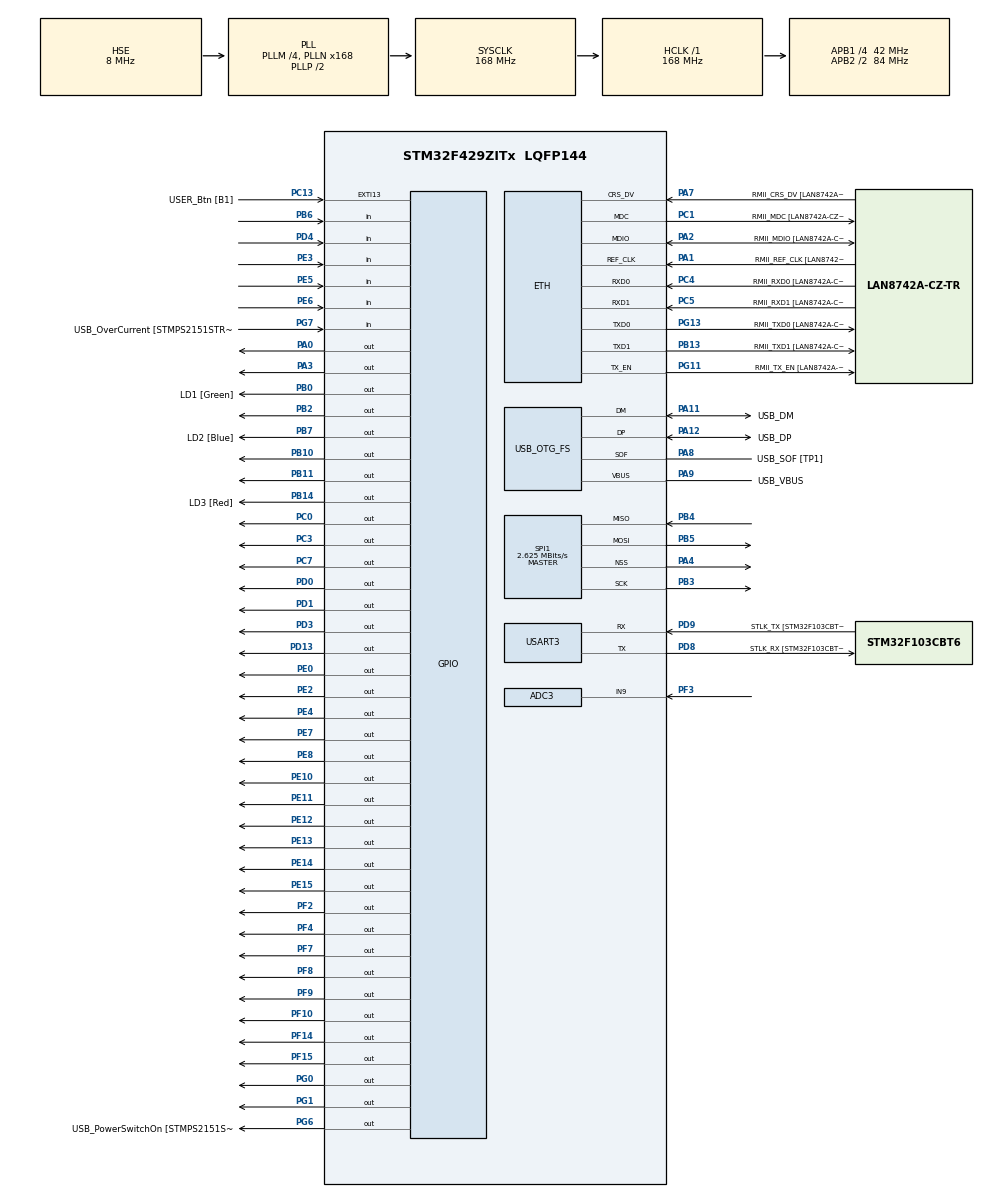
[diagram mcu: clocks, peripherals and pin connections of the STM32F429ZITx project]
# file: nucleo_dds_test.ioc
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ADC3.Channel-0\#ChannelRegularConversion=ADC_CHANNEL_9
ADC3.NbrOfConversionFlag=1
ADC3.Rank-0\#ChannelRegularConversion=1
ADC3.SamplingTime-0\#ChannelRegularConversion=ADC_SAMPLETIME_3CYCLES
ETH.MediaInterface=HAL_ETH_RMII_MODE
ETH.PHY_Name=LAN8742A_PHY_ADDRESS
ETH.PHY_Value=0
ETH.PhyAddress=0
FREERTOS.Tasks01=defaultTask,0,256,StartDefaultTask,Default,NULL,Dynamic,NULL,NULL
FREERTOS.configUSE_NEWLIB_REENTRANT=1
LWIP.BSP.number=1
LWIP.Version=v2.1.2_Cube
LWIP0.BSP.STBoard=false
LWIP0.BSP.api=BSP_COMPONENT_DRIVER
LWIP0.BSP.component=LAN8742
LWIP0.BSP.instance=LAN8742
LWIP0.BSP.name=Driver_PHY
LWIP0.BSP.semaphore=S_LAN8742
LWIP0.BSP.solution=LAN8742
Mcu.Family=STM32F4
Mcu.Name=STM32F429ZITx
Mcu.Package=LQFP144
NVIC.ETH_IRQn=true\:5\:0\:false\:false\:true\:true\:false\:true\:true
NVIC.PriorityGroup=NVIC_PRIORITYGROUP_4
NVIC.TIM6_DAC_IRQn=true\:15\:0\:false\:false\:true\:false\:false\:true\:true
NVIC.TimeBase=TIM6_DAC_IRQn
NVIC.TimeBaseIP=TIM6
PA0/WKUP.Signal=GPIO_Output
PA1.GPIO_Label=RMII_REF_CLK [LAN8742A-CZ-TR_REFCLK0]
PA1.Mode=RMII
PA1.Signal=ETH_REF_CLK
PA10.GPIO_Label=USB_ID
PA10.Signal=USB_OTG_FS_ID
PA11.GPIO_Label=USB_DM
PA11.Mode=Device_Only
PA11.Signal=USB_OTG_FS_DM
PA12.GPIO_Label=USB_DP
PA12.Mode=Device_Only
PA12.Signal=USB_OTG_FS_DP
PA13.GPIO_Label=TMS
PA13.Mode=Serial_Wire
PA13.Signal=SYS_JTMS-SWDIO
PA14.GPIO_Label=TCK
PA14.Mode=Serial_Wire
PA14.Signal=SYS_JTCK-SWCLK
PA2.GPIO_Label=RMII_MDIO [LAN8742A-CZ-TR_MDIO]
PA2.Mode=RMII
PA2.Signal=ETH_MDIO
PA3.Signal=GPIO_Output
PA4.Mode=NSS_Signal_Hard_Output
PA4.Signal=SPI1_NSS
PA7.GPIO_Label=RMII_CRS_DV [LAN8742A-CZ-TR_CRS_DV]
PA7.Mode=RMII
PA7.Signal=ETH_CRS_DV
PA8.GPIO_Label=USB_SOF [TP1]
PA8.Mode=Activate_SOF_FS
PA8.Signal=USB_OTG_FS_SOF
PA9.GPIO_Label=USB_VBUS
PA9.Mode=Activate_VBUS
PA9.Signal=USB_OTG_FS_VBUS
PB0.GPIO_Label=LD1 [Green]
PB0.Signal=GPIO_Output
PB10.Signal=GPIO_Output
PB11.Signal=GPIO_Output
PB13.GPIO_Label=RMII_TXD1 [LAN8742A-CZ-TR_TXD1]
PB13.Mode=RMII
PB13.Signal=ETH_TXD1
PB14.GPIO_Label=LD3 [Red]
PB14.Signal=GPIO_Output
PB2/BOOT1.Signal=GPIO_Output
PB3.Mode=Full_Duplex_Master
PB3.Signal=SPI1_SCK
PB4.Mode=Full_Duplex_Master
PB4.Signal=SPI1_MISO
PB5.Mode=Full_Duplex_Master
PB5.Signal=SPI1_MOSI
PB6.Signal=GPIO_Input
PB7.GPIO_Label=LD2 [Blue]
PB7.Signal=GPIO_Output
PC0.Signal=GPIO_Output
PC1.GPIO_Label=RMII_MDC [LAN8742A-CZ-TR_MDC]
PC1.Mode=RMII
PC1.Signal=ETH_MDC
PC13.GPIO_Label=USER_Btn [B1]
PC13.Signal=GPXTI13
PC14/OSC32_IN.Mode=LSE-External-Oscillator
PC14/OSC32_IN.Signal=RCC_OSC32_IN
PC15/OSC32_OUT.Mode=LSE-External-Oscillator
PC15/OSC32_OUT.Signal=RCC_OSC32_OUT
PC3.Signal=GPIO_Output
PC4.GPIO_Label=RMII_RXD0 [LAN8742A-CZ-TR_RXD0]
PC4.Mode=RMII
PC4.Signal=ETH_RXD0
PC5.GPIO_Label=RMII_RXD1 [LAN8742A-CZ-TR_RXD1]
PC5.Mode=RMII
PC5.Signal=ETH_RXD1
PC7.Signal=GPIO_Output
PD0.Signal=GPIO_Output
PD1.Signal=GPIO_Output
PD13.Signal=GPIO_Output
PD3.Signal=GPIO_Output
PD4.Signal=GPIO_Input
PD8.GPIO_Label=STLK_RX [STM32F103CBT6_PA3]
PD8.Mode=Asynchronous
PD8.Signal=USART3_TX
PD9.GPIO_Label=STLK_TX [STM32F103CBT6_PA2]
PD9.Mode=Asynchronous
PD9.Signal=USART3_RX
PE0.Signal=GPIO_Output
PE10.Signal=GPIO_Output
PE11.Signal=GPIO_Output
PE12.Signal=GPIO_Output
PE13.Signal=GPIO_Output
PE14.Signal=GPIO_Output
PE15.Signal=GPIO_Output
PE2.Signal=GPIO_Output
PE3.Signal=GPIO_Input
PE4.Signal=GPIO_Output
PE5.Signal=GPIO_Input
PE6.Signal=GPIO_Input
PE7.Signal=GPIO_Output
PE8.Signal=GPIO_Output
PF10.Signal=GPIO_Output
PF14.Signal=GPIO_Output
PF15.Signal=GPIO_Output
PF2.Signal=GPIO_Output
PF3.Mode=IN9
PF3.Signal=ADC3_IN9
PF4.Signal=GPIO_Output
PF7.Signal=GPIO_Output
PF8.Signal=GPIO_Output
PF9.Signal=GPIO_Output
PG0.Signal=GPIO_Output
PG1.Signal=GPIO_Output
PG11.GPIO_Label=RMII_TX_EN [LAN8742A-CZ-TR_TXEN]
PG11.Mode=RMII
PG11.Signal=ETH_TX_EN
PG13.GPIO_Label=RMII_TXD0 [LAN8742A-CZ-TR_TXD0]
PG13.Mode=RMII
PG13.Signal=ETH_TXD0
PG6.GPIO_Label=USB_PowerSwitchOn [STMPS2151STR_EN]
PG6.Signal=GPIO_Output
PG7.GPIO_Label=USB_OverCurrent [STMPS2151STR_FAULT]
PG7.Signal=GPIO_Input
PH0/OSC_IN.GPIO_Label=MCO [STM32F103CBT6_PA8]
PH0/OSC_IN.Mode=HSE-External-Clock-Source
PH0/OSC_IN.Signal=RCC_OSC_IN
PH1/OSC_OUT.Mode=HSE-External-Clock-Source
PH1/OSC_OUT.Signal=RCC_OSC_OUT
ProjectManager.HeapSize=0x200
ProjectManager.StackSize=0x400
ProjectManager.TargetToolchain=STM32CubeIDE
RCC.48MHZClocksFreq_Value=48000000
RCC.AHBFreq_Value=168000000
RCC.APB1CLKDivider=RCC_HCLK_DIV4
RCC.APB1Freq_Value=42000000
RCC.APB1TimFreq_Value=84000000
RCC.APB2CLKDivider=RCC_HCLK_DIV2
RCC.APB2Freq_Value=84000000
RCC.APB2TimCLKDivider=2
RCC.APB2TimFreq_Value=168000000
RCC.CortexFreq_Value=168000000
RCC.HCLKFreq_Value=168000000
RCC.HSE_VALUE=8000000
RCC.HSI_VALUE=16000000
RCC.PLLM=4
RCC.PLLMUL=RCC_PLL_MUL9
RCC.PLLN=168
RCC.PLLQ=7
RCC.PRESCALERUSB=RCC_USBCLKSOURCE_PLL_DIV1_5
RCC.SYSCLKFreq_VALUE=168000000
RCC.SYSCLKSource=RCC_SYSCLKSOURCE_PLLCLK
RCC.SYSCLKSourceVirtual=RCC_SYSCLKSOURCE_PLLCLK
RCC.USBFreq_Value=48000000
RCC.VCOOutputFreq_Value=336000000
SPI1.BaudRatePrescaler=SPI_BAUDRATEPRESCALER_32
SPI1.CalculateBaudRate=2.625 MBits/s
SPI1.Direction=SPI_DIRECTION_2LINES
SPI1.Mode=SPI_MODE_MASTER
SPI1.VirtualNSS=VM_NSSHARD
SPI1.VirtualType=VM_MASTER
USART3.VirtualMode=VM_ASYNC
USB_OTG_FS.VirtualMode=Device_Only
VP_FREERTOS_VS_CMSIS_V1.Mode=CMSIS_V1
VP_LWIP_VS_Enabled.Mode=Enabled
VP_SYS_VS_tim6.Mode=TIM6
board=NUCLEO-F429ZI

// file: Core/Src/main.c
/* USER CODE BEGIN Header */
/**
  ******************************************************************************
  * @file           : main.c
  * @brief          : Main program body
  ******************************************************************************
  * @attention
  *
  * Copyright (c) 2024 STMicroelectronics.
  * All rights reserved.
  *
  * This software is licensed under terms that can be found in the LICENSE file
  * in the root directory of this software component.
  * If no LICENSE file comes with this software, it is provided AS-IS.
  *
  ******************************************************************************
  */
/* USER CODE END Header */
#include "main.h"
#include "cmsis_os.h"
#include "lwip.h"

/* USER CODE BEGIN Includes */
#include "ad9910.h"
#include <string.h>
#include "server.h"
#include <stdio.h>

/* USER CODE END Includes */

ADC_HandleTypeDef hadc3;

SPI_HandleTypeDef hspi1;

UART_HandleTypeDef huart3;

PCD_HandleTypeDef hpcd_USB_OTG_FS;

osThreadId defaultTaskHandle;
/* USER CODE BEGIN PV */

#define DEBUG_LOG 0

void Serial_print(const char * str){
	HAL_UART_Transmit(&huart3, (uint8_t*)str, strlen(str), 1000);
}
void Serial_println(const char * str){
	Serial_print(str);
	Serial_print("\r\n");
}
void SPI_Transmit(uint8_t *strBuffer, int nums, int pause)
{
#if DEBUG_LOG
	Serial_print("SPI transmit: ");
	char s[3] = "";
	for (int i=0;i<nums; i++)
	{
		sprintf(s, "%02x", strBuffer[i]);
		Serial_print(s);
	}
	Serial_println(" ");
#endif
	GPIO_WritePin(DDS_SPI_CS_GPIO_PORT, DDS_SPI_CS_PIN, GPIO_PIN_RESET);
	HAL_SPI_Transmit(&hspi1, strBuffer, nums, pause);
	GPIO_WritePin(DDS_SPI_CS_GPIO_PORT, DDS_SPI_CS_PIN, GPIO_PIN_SET);
}

void GPIO_WritePin(GPIO_TypeDef *port, int pin, int mode)
{
#if DEBUG_LOG
	char s[200] = "";
	sprintf(s, "Pin %d set to %d", pin, mode);
	Serial_println(s);
#endif
	HAL_GPIO_WritePin(port, pin, mode);
}

/* USER CODE END PV */

void SystemClock_Config(void);
static void MX_GPIO_Init(void);
static void MX_USART3_UART_Init(void);
static void MX_USB_OTG_FS_PCD_Init(void);
static void MX_ADC3_Init(void);
static void MX_SPI1_Init(void);
void StartDefaultTask(void const * argument);

int main(void)
{

  /* MCU Configuration--------------------------------------------------------*/

  /* Reset of all peripherals, Initializes the Flash interface and the Systick. */
  HAL_Init();

  /* Configure the system clock */
  SystemClock_Config();

  /* Initialize all configured peripherals */
  MX_GPIO_Init();
  MX_USART3_UART_Init();
  MX_USB_OTG_FS_PCD_Init();
  MX_ADC3_Init();
  MX_SPI1_Init();

  /* Create the thread(s) */
  /* definition and creation of defaultTask */
  osThreadDef(defaultTask, StartDefaultTask, osPriorityNormal, 0, 256);
  defaultTaskHandle = osThreadCreate(osThread(defaultTask), NULL);

  /* Start scheduler */
  osKernelStart();

  /* We should never get here as control is now taken by the scheduler */

  /* Infinite loop */
  /* USER CODE BEGIN WHILE */
//  char tx_buff[] = "Hello from Nucleo-DDS\r\n";
  while (1)
  {
//	HAL_Delay(500);
//	Serial_print("*");
//
//	GPIO_WritePin(DDS_DRCTL_GPIO_PORT, DDS_DRCTL_PIN, GPIO_PIN_SET);
//	HAL_Delay(10);
//	GPIO_WritePin(DDS_DRCTL_GPIO_PORT, DDS_DRCTL_PIN, GPIO_PIN_RESET);
//
//	//	HAL_UART_Transmit(&huart3, (uint8_t*)tx_buff, strlen(tx_buff), 1000);
//		GPIO_WritePin(GPIOB, LD3_Pin, GPIO_PIN_SET);
//		GPIO_WritePin(GPIOB, LD1_Pin, GPIO_PIN_RESET);
//		GPIO_WritePin(GPIOB, LD2_Pin, GPIO_PIN_SET);
//		HAL_Delay(500);
//		GPIO_WritePin(GPIOB, LD3_Pin, GPIO_PIN_RESET);
//		GPIO_WritePin(GPIOB, LD1_Pin, GPIO_PIN_SET);
//		GPIO_WritePin(GPIOB, LD2_Pin, GPIO_PIN_RESET);

//	HAL_UART_Transmit(&huart3, (uint8_t*)tx_buff, strlen(tx_buff), 1000);
    /* USER CODE END WHILE */

  }
}

void SystemClock_Config(void)
{
  RCC_OscInitTypeDef RCC_OscInitStruct = {0};
  RCC_ClkInitTypeDef RCC_ClkInitStruct = {0};

  /** Configure the main internal regulator output voltage
  */
  __HAL_RCC_PWR_CLK_ENABLE();
  __HAL_PWR_VOLTAGESCALING_CONFIG(PWR_REGULATOR_VOLTAGE_SCALE1);

  /** Initializes the RCC Oscillators according to the specified parameters
  * in the RCC_OscInitTypeDef structure.
  */
  RCC_OscInitStruct.OscillatorType = RCC_OSCILLATORTYPE_HSE;
  RCC_OscInitStruct.HSEState = RCC_HSE_BYPASS;
  RCC_OscInitStruct.PLL.PLLState = RCC_PLL_ON;
  RCC_OscInitStruct.PLL.PLLSource = RCC_PLLSOURCE_HSE;
  RCC_OscInitStruct.PLL.PLLM = 4;
  RCC_OscInitStruct.PLL.PLLN = 168;
  RCC_OscInitStruct.PLL.PLLP = RCC_PLLP_DIV2;
  RCC_OscInitStruct.PLL.PLLQ = 7;
  if (HAL_RCC_OscConfig(&RCC_OscInitStruct) != HAL_OK)
  {
    Error_Handler();
  }

  /** Initializes the CPU, AHB and APB buses clocks
  */
  RCC_ClkInitStruct.ClockType = RCC_CLOCKTYPE_HCLK|RCC_CLOCKTYPE_SYSCLK
                              |RCC_CLOCKTYPE_PCLK1|RCC_CLOCKTYPE_PCLK2;
  RCC_ClkInitStruct.SYSCLKSource = RCC_SYSCLKSOURCE_PLLCLK;
  RCC_ClkInitStruct.AHBCLKDivider = RCC_SYSCLK_DIV1;
  RCC_ClkInitStruct.APB1CLKDivider = RCC_HCLK_DIV4;
  RCC_ClkInitStruct.APB2CLKDivider = RCC_HCLK_DIV2;

  if (HAL_RCC_ClockConfig(&RCC_ClkInitStruct, FLASH_LATENCY_5) != HAL_OK)
  {
    Error_Handler();
  }
}

static void MX_ADC3_Init(void)
{

  ADC_ChannelConfTypeDef sConfig = {0};

  /** Configure the global features of the ADC (Clock, Resolution, Data Alignment and number of conversion)
  */
  hadc3.Instance = ADC3;
  hadc3.Init.ClockPrescaler = ADC_CLOCK_SYNC_PCLK_DIV4;
  hadc3.Init.Resolution = ADC_RESOLUTION_12B;
  hadc3.Init.ScanConvMode = DISABLE;
  hadc3.Init.ContinuousConvMode = DISABLE;
  hadc3.Init.DiscontinuousConvMode = DISABLE;
  hadc3.Init.ExternalTrigConvEdge = ADC_EXTERNALTRIGCONVEDGE_NONE;
  hadc3.Init.ExternalTrigConv = ADC_SOFTWARE_START;
  hadc3.Init.DataAlign = ADC_DATAALIGN_RIGHT;
  hadc3.Init.NbrOfConversion = 1;
  hadc3.Init.DMAContinuousRequests = DISABLE;
  hadc3.Init.EOCSelection = ADC_EOC_SINGLE_CONV;
  if (HAL_ADC_Init(&hadc3) != HAL_OK)
  {
    Error_Handler();
  }

  /** Configure for the selected ADC regular channel its corresponding rank in the sequencer and its sample time.
  */
  sConfig.Channel = ADC_CHANNEL_9;
  sConfig.Rank = 1;
  sConfig.SamplingTime = ADC_SAMPLETIME_3CYCLES;
  if (HAL_ADC_ConfigChannel(&hadc3, &sConfig) != HAL_OK)
  {
    Error_Handler();
  }

}

static void MX_SPI1_Init(void)
{

  /* SPI1 parameter configuration*/
  hspi1.Instance = SPI1;
  hspi1.Init.Mode = SPI_MODE_MASTER;
  hspi1.Init.Direction = SPI_DIRECTION_2LINES;
  hspi1.Init.DataSize = SPI_DATASIZE_8BIT;
  hspi1.Init.CLKPolarity = SPI_POLARITY_LOW;
  hspi1.Init.CLKPhase = SPI_PHASE_1EDGE;
  hspi1.Init.NSS = SPI_NSS_HARD_OUTPUT;
  hspi1.Init.BaudRatePrescaler = SPI_BAUDRATEPRESCALER_32;
  hspi1.Init.FirstBit = SPI_FIRSTBIT_MSB;
  hspi1.Init.TIMode = SPI_TIMODE_DISABLE;
  hspi1.Init.CRCCalculation = SPI_CRCCALCULATION_DISABLE;
  hspi1.Init.CRCPolynomial = 10;
  if (HAL_SPI_Init(&hspi1) != HAL_OK)
  {
    Error_Handler();
  }

}

static void MX_USART3_UART_Init(void)
{

  huart3.Instance = USART3;
  huart3.Init.BaudRate = 115200;
  huart3.Init.WordLength = UART_WORDLENGTH_8B;
  huart3.Init.StopBits = UART_STOPBITS_1;
  huart3.Init.Parity = UART_PARITY_NONE;
  huart3.Init.Mode = UART_MODE_TX_RX;
  huart3.Init.HwFlowCtl = UART_HWCONTROL_NONE;
  huart3.Init.OverSampling = UART_OVERSAMPLING_16;
  if (HAL_UART_Init(&huart3) != HAL_OK)
  {
    Error_Handler();
  }

}

static void MX_USB_OTG_FS_PCD_Init(void)
{

  hpcd_USB_OTG_FS.Instance = USB_OTG_FS;
  hpcd_USB_OTG_FS.Init.dev_endpoints = 4;
  hpcd_USB_OTG_FS.Init.speed = PCD_SPEED_FULL;
  hpcd_USB_OTG_FS.Init.dma_enable = DISABLE;
  hpcd_USB_OTG_FS.Init.phy_itface = PCD_PHY_EMBEDDED;
  hpcd_USB_OTG_FS.Init.Sof_enable = ENABLE;
  hpcd_USB_OTG_FS.Init.low_power_enable = DISABLE;
  hpcd_USB_OTG_FS.Init.lpm_enable = DISABLE;
  hpcd_USB_OTG_FS.Init.vbus_sensing_enable = ENABLE;
  hpcd_USB_OTG_FS.Init.use_dedicated_ep1 = DISABLE;
  if (HAL_PCD_Init(&hpcd_USB_OTG_FS) != HAL_OK)
  {
    Error_Handler();
  }

}

static void MX_GPIO_Init(void)
{
  GPIO_InitTypeDef GPIO_InitStruct = {0};

  /* GPIO Ports Clock Enable */
  __HAL_RCC_GPIOE_CLK_ENABLE();
  __HAL_RCC_GPIOC_CLK_ENABLE();
  __HAL_RCC_GPIOF_CLK_ENABLE();
  __HAL_RCC_GPIOH_CLK_ENABLE();
  __HAL_RCC_GPIOA_CLK_ENABLE();
  __HAL_RCC_GPIOB_CLK_ENABLE();
  __HAL_RCC_GPIOG_CLK_ENABLE();
  __HAL_RCC_GPIOD_CLK_ENABLE();

  /*Configure GPIO pin Output Level */
  HAL_GPIO_WritePin(GPIOE, GPIO_PIN_2|GPIO_PIN_4|GPIO_PIN_7|GPIO_PIN_8
                          |GPIO_PIN_10|GPIO_PIN_11|GPIO_PIN_12|GPIO_PIN_13
                          |GPIO_PIN_14|GPIO_PIN_15|GPIO_PIN_0, GPIO_PIN_RESET);

  /*Configure GPIO pin Output Level */
  HAL_GPIO_WritePin(GPIOF, GPIO_PIN_2|GPIO_PIN_4|GPIO_PIN_7|GPIO_PIN_8
                          |GPIO_PIN_9|GPIO_PIN_10|GPIO_PIN_14|GPIO_PIN_15, GPIO_PIN_RESET);

  /*Configure GPIO pin Output Level */
  HAL_GPIO_WritePin(GPIOC, GPIO_PIN_0|GPIO_PIN_3|GPIO_PIN_7, GPIO_PIN_RESET);

  /*Configure GPIO pin Output Level */
  HAL_GPIO_WritePin(GPIOA, GPIO_PIN_0|GPIO_PIN_3, GPIO_PIN_RESET);

  /*Configure GPIO pin Output Level */
  HAL_GPIO_WritePin(GPIOB, LD1_Pin|GPIO_PIN_2|GPIO_PIN_10|GPIO_PIN_11
                          |LD3_Pin|LD2_Pin, GPIO_PIN_RESET);

  /*Configure GPIO pin Output Level */
  HAL_GPIO_WritePin(GPIOG, GPIO_PIN_0|GPIO_PIN_1|USB_PowerSwitchOn_Pin, GPIO_PIN_RESET);

  /*Configure GPIO pin Output Level */
  HAL_GPIO_WritePin(GPIOD, GPIO_PIN_13|GPIO_PIN_0|GPIO_PIN_1|GPIO_PIN_3, GPIO_PIN_RESET);

  /*Configure GPIO pins : PE2 PE4 PE7 PE8
                           PE10 PE11 PE12 PE13
                           PE14 PE15 PE0 */
  GPIO_InitStruct.Pin = GPIO_PIN_2|GPIO_PIN_4|GPIO_PIN_7|GPIO_PIN_8
                          |GPIO_PIN_10|GPIO_PIN_11|GPIO_PIN_12|GPIO_PIN_13
                          |GPIO_PIN_14|GPIO_PIN_15|GPIO_PIN_0;
  GPIO_InitStruct.Mode = GPIO_MODE_OUTPUT_PP;
  GPIO_InitStruct.Pull = GPIO_NOPULL;
  GPIO_InitStruct.Speed = GPIO_SPEED_FREQ_LOW;
  HAL_GPIO_Init(GPIOE, &GPIO_InitStruct);

  /*Configure GPIO pins : PE3 PE5 PE6 */
  GPIO_InitStruct.Pin = GPIO_PIN_3|GPIO_PIN_5|GPIO_PIN_6;
  GPIO_InitStruct.Mode = GPIO_MODE_INPUT;
  GPIO_InitStruct.Pull = GPIO_NOPULL;
  HAL_GPIO_Init(GPIOE, &GPIO_InitStruct);

  /*Configure GPIO pin : USER_Btn_Pin */
  GPIO_InitStruct.Pin = USER_Btn_Pin;
  GPIO_InitStruct.Mode = GPIO_MODE_IT_RISING;
  GPIO_InitStruct.Pull = GPIO_NOPULL;
  HAL_GPIO_Init(USER_Btn_GPIO_Port, &GPIO_InitStruct);

  /*Configure GPIO pins : PF2 PF4 PF7 PF8
                           PF9 PF10 PF14 PF15 */
  GPIO_InitStruct.Pin = GPIO_PIN_2|GPIO_PIN_4|GPIO_PIN_7|GPIO_PIN_8
                          |GPIO_PIN_9|GPIO_PIN_10|GPIO_PIN_14|GPIO_PIN_15;
  GPIO_InitStruct.Mode = GPIO_MODE_OUTPUT_PP;
  GPIO_InitStruct.Pull = GPIO_NOPULL;
  GPIO_InitStruct.Speed = GPIO_SPEED_FREQ_LOW;
  HAL_GPIO_Init(GPIOF, &GPIO_InitStruct);

  /*Configure GPIO pins : PC0 PC3 PC7 */
  GPIO_InitStruct.Pin = GPIO_PIN_0|GPIO_PIN_3|GPIO_PIN_7;
  GPIO_InitStruct.Mode = GPIO_MODE_OUTPUT_PP;
  GPIO_InitStruct.Pull = GPIO_NOPULL;
  GPIO_InitStruct.Speed = GPIO_SPEED_FREQ_LOW;
  HAL_GPIO_Init(GPIOC, &GPIO_InitStruct);

  /*Configure GPIO pins : PA0 PA3 */
  GPIO_InitStruct.Pin = GPIO_PIN_0|GPIO_PIN_3;
  GPIO_InitStruct.Mode = GPIO_MODE_OUTPUT_PP;
  GPIO_InitStruct.Pull = GPIO_NOPULL;
  GPIO_InitStruct.Speed = GPIO_SPEED_FREQ_LOW;
  HAL_GPIO_Init(GPIOA, &GPIO_InitStruct);

  /*Configure GPIO pins : LD1_Pin PB2 PB10 PB11
                           LD3_Pin LD2_Pin */
  GPIO_InitStruct.Pin = LD1_Pin|GPIO_PIN_2|GPIO_PIN_10|GPIO_PIN_11
                          |LD3_Pin|LD2_Pin;
  GPIO_InitStruct.Mode = GPIO_MODE_OUTPUT_PP;
  GPIO_InitStruct.Pull = GPIO_NOPULL;
  GPIO_InitStruct.Speed = GPIO_SPEED_FREQ_LOW;
  HAL_GPIO_Init(GPIOB, &GPIO_InitStruct);

  /*Configure GPIO pins : PG0 PG1 USB_PowerSwitchOn_Pin */
  GPIO_InitStruct.Pin = GPIO_PIN_0|GPIO_PIN_1|USB_PowerSwitchOn_Pin;
  GPIO_InitStruct.Mode = GPIO_MODE_OUTPUT_PP;
  GPIO_InitStruct.Pull = GPIO_NOPULL;
  GPIO_InitStruct.Speed = GPIO_SPEED_FREQ_LOW;
  HAL_GPIO_Init(GPIOG, &GPIO_InitStruct);

  /*Configure GPIO pins : PD13 PD0 PD1 PD3 */
  GPIO_InitStruct.Pin = GPIO_PIN_13|GPIO_PIN_0|GPIO_PIN_1|GPIO_PIN_3;
  GPIO_InitStruct.Mode = GPIO_MODE_OUTPUT_PP;
  GPIO_InitStruct.Pull = GPIO_NOPULL;
  GPIO_InitStruct.Speed = GPIO_SPEED_FREQ_LOW;
  HAL_GPIO_Init(GPIOD, &GPIO_InitStruct);

  /*Configure GPIO pin : USB_OverCurrent_Pin */
  GPIO_InitStruct.Pin = USB_OverCurrent_Pin;
  GPIO_InitStruct.Mode = GPIO_MODE_INPUT;
  GPIO_InitStruct.Pull = GPIO_NOPULL;
  HAL_GPIO_Init(USB_OverCurrent_GPIO_Port, &GPIO_InitStruct);

  /*Configure GPIO pin : PD4 */
  GPIO_InitStruct.Pin = GPIO_PIN_4;
  GPIO_InitStruct.Mode = GPIO_MODE_INPUT;
  GPIO_InitStruct.Pull = GPIO_NOPULL;
  HAL_GPIO_Init(GPIOD, &GPIO_InitStruct);

  /*Configure GPIO pin : PB6 */
  GPIO_InitStruct.Pin = GPIO_PIN_6;
  GPIO_InitStruct.Mode = GPIO_MODE_INPUT;
  GPIO_InitStruct.Pull = GPIO_NOPULL;
  HAL_GPIO_Init(GPIOB, &GPIO_InitStruct);

}

/* USER CODE BEGIN 4 */
#define CMDLEN 256
static char cmd[CMDLEN] = "";

int exec_profile(const char * cmd){
	unsigned int profile = 0;
	uint32_t freq = 0;
	uint32_t amp = 0;
	int count = sscanf(cmd, "%u %lu %lu", &profile, &freq, &amp);
	char arr[255];
	sprintf(arr, "%d PROFILE %d <- %lu %lu", count, profile, freq, amp);
	Serial_print(arr);
	if(count < 1){
		Serial_println("Error parsing command");
		return -1;
	}
	if(freq > 500){
		Serial_println("Invalid frequency. Should be between 1 and 500");
		return -2;
	}
	if(profile > 7){
		Serial_println("Invalid profile");
		return -3;
	}
	SingleProfileFreqOut(freq*1000000, 0, profile);
	return 0;
}

int exec_setprofile(const char * cmd){
	unsigned int profile = 0;
	int count = sscanf(cmd, "%u", &profile);
	if(count < 1){
		Serial_println("Error parsing command");
		return -1;
	}
	if(profile > 7){
		Serial_println("Invalid profile");
		return -3;
	}
	GPIO_WritePin(DDS_PROFILE_0_GPIO_PORT, DDS_PROFILE_0_PIN, profile&1);
	GPIO_WritePin(DDS_PROFILE_1_GPIO_PORT, DDS_PROFILE_1_PIN, (profile>>1)&1);
	GPIO_WritePin(DDS_PROFILE_2_GPIO_PORT, DDS_PROFILE_2_PIN, (profile>>2)&1);
	return 0;
}

int exec_sweep(const char * cmd){
	uint32_t start;
	uint32_t stop;
	uint32_t period_ms;
	int autoclear = 0;
	int count = sscanf(cmd, "%lu %lu %lu %d", &start, &stop, &period_ms, &autoclear);
	if(count < 3){
		Serial_println("Error parsing command");
		return -1;
	}
	if(count < 4){
		autoclear = 1;
	}
	Sweep(start*1000000, stop*1000000, period_ms, (uint8_t)autoclear);
	return 0;
}

int exec_drhold(const char * cmd){
	unsigned int value = 0;
	int count = sscanf(cmd, "%u", &value);
	if(count < 1){
		Serial_println("Error parsing command");
		return -1;
	}
	if(value > 1){
		Serial_println("Invalid value");
		return -3;
	}
	GPIO_WritePin(DDS_DRHOLD_GPIO_PORT, DDS_DRHOLD_PIN, value&1);
	return 0;
}

int exec_drctrl(const char * cmd){
	unsigned int value = 0;
	int count = sscanf(cmd, "%u", &value);
	if(count < 1){
		Serial_println("Error parsing command");
		return -1;
	}
	if(value > 1){
		Serial_println("Invalid value");
		return -3;
	}
	GPIO_WritePin(DDS_DRCTL_GPIO_PORT, DDS_DRCTL_PIN, value&1);
	return 0;
}

int exec_pwr(const char * cmd){
	unsigned int value = 0;
	int count = sscanf(cmd, "%u", &value);
	if(count < 1){
		Serial_println("Error parsing command");
		return -1;
	}
	if(value > 1){
		Serial_println("Invalid value");
		return -3;
	}
	GPIO_WritePin(DDS_PWR_DWN_GPIO_PORT, DDS_PWR_DWN_PIN, !(value&1));
	return 0;
}

int exec_txen(const char * cmd){
	unsigned int value = 0;
	int count = sscanf(cmd, "%u", &value);
	if(count < 1){
		Serial_println("Error parsing command");
		return -1;
	}
	if(value > 1){
		Serial_println("Invalid value");
		return -3;
	}
	GPIO_WritePin(DDS_TxENABLE_GPIO_PORT, DDS_TxENABLE_PIN, value&1);
	return 0;
}

int exec_amplitude(const char * cmd){
	unsigned int value = 0;
	int count = sscanf(cmd, "%u", &value);
	if(count < 1){
		Serial_println("Error parsing command");
		return -1;
	}
	if(value >= (1<<14)){
		Serial_println("Invalid value");
		return -3;
	}
	GPIO_WritePin(DDS_D2_GPIO_PORT, DDS_D2_PIN, value&1);
	GPIO_WritePin(DDS_D3_GPIO_PORT, DDS_D3_PIN, (value>>1)&1);
	GPIO_WritePin(DDS_D4_GPIO_PORT, DDS_D4_PIN, (value>>2)&1);
	GPIO_WritePin(DDS_D5_GPIO_PORT, DDS_D5_PIN, (value>>3)&1);
	GPIO_WritePin(DDS_D6_GPIO_PORT, DDS_D6_PIN, (value>>4)&1);
	GPIO_WritePin(DDS_D7_GPIO_PORT, DDS_D7_PIN, (value>>5)&1);
	GPIO_WritePin(DDS_D8_GPIO_PORT, DDS_D8_PIN, (value>>6)&1);
	GPIO_WritePin(DDS_D9_GPIO_PORT, DDS_D9_PIN, (value>>7)&1);
	GPIO_WritePin(DDS_D10_GPIO_PORT, DDS_D10_PIN, (value>>8)&1);
	GPIO_WritePin(DDS_D11_GPIO_PORT, DDS_D11_PIN, (value>>9)&1);
	GPIO_WritePin(DDS_D12_GPIO_PORT, DDS_D12_PIN, (value>>10)&1);
	GPIO_WritePin(DDS_D13_GPIO_PORT, DDS_D13_PIN, (value>>11)&1);
	GPIO_WritePin(DDS_D14_GPIO_PORT, DDS_D14_PIN, (value>>12)&1);
	GPIO_WritePin(DDS_D15_GPIO_PORT, DDS_D15_PIN, (value>>13)&1);
	GPIO_WritePin(DDS_TxENABLE_GPIO_PORT, DDS_TxENABLE_PIN, 1);
//	HAL_Delay(100);
//	GPIO_WritePin(DDS_TxENABLE_GPIO_PORT, DDS_TxENABLE_PIN, 0);
	return 0;
}

void process_data(void * payload, uint16_t len){
	if(len+strlen(cmd) < CMDLEN){
		memcpy(cmd+strlen(cmd), payload, len);
	}
	Serial_print(cmd);
	char * p = strchr(cmd, '\r');
	if(p!=NULL){
		p[0] = '\n';
	}
	p = strchr(cmd, '\n');
	if(p!=NULL){
		Serial_println("new line!");
		p[0] = 0;
		if(memcmp(cmd, "profile ", strlen("profile "))==0){
			exec_profile(cmd+strlen("profile "));
		}else if(memcmp(cmd, "setprofile ", strlen("setprofile "))==0){
			exec_setprofile(cmd+strlen("setprofile "));
		}else if(memcmp(cmd, "sweep ", strlen("sweep "))==0){
			exec_sweep(cmd+strlen("sweep "));
		}else if(memcmp(cmd, "drhold ", strlen("drhold "))==0){
			exec_drhold(cmd+strlen("drhold "));
		}else if(memcmp(cmd, "drctrl ", strlen("drctrl "))==0){
			exec_drctrl(cmd+strlen("drctrl "));
		}else if(memcmp(cmd, "pwr ", strlen("pwr "))==0){
			exec_pwr(cmd+strlen("pwr "));
		}else if(memcmp(cmd, "txen ", strlen("txen "))==0){
			exec_txen(cmd+strlen("txen "));
		}else if(memcmp(cmd, "amplitude ", strlen("amplitude "))==0){
			exec_amplitude(cmd+strlen("amplitude "));
		}else{
			Serial_println("Invalid command");
		}
		memset(cmd, 0, CMDLEN);
	}
}
/* USER CODE END 4 */

void StartDefaultTask(void const * argument)
{
  /* init code for LWIP */
  MX_LWIP_Init();
  /* USER CODE BEGIN 5 */

	Serial_println("\r\nHello world!");
	extern struct netif gnetif;
	while (ip4_addr_isany_val(*netif_ip4_addr(&gnetif))) {
	  osDelay(200);
	}
	Serial_println(ip4addr_ntoa(netif_ip4_addr(&gnetif)));
	// switch setup
	if(INIT_SWITCH_VALUE){
		  GPIO_WritePin(DDS_V2_GPIO_PORT, DDS_V2_PIN, GPIO_PIN_RESET);
		  GPIO_WritePin(DDS_V1_GPIO_PORT, DDS_V1_PIN, GPIO_PIN_SET);
		  // refclk LED and oscillator power setup
		  GPIO_WritePin(DDS_REF_LED_GPIO_PORT, DDS_REF_LED_PIN, GPIO_PIN_RESET);
	}else{
		  GPIO_WritePin(DDS_V1_GPIO_PORT, DDS_V1_PIN, GPIO_PIN_RESET);
		  GPIO_WritePin(DDS_V2_GPIO_PORT, DDS_V2_PIN, GPIO_PIN_SET);
		  // refclk LED and oscillator power setup
		  GPIO_WritePin(DDS_REF_LED_GPIO_PORT, DDS_REF_LED_PIN, GPIO_PIN_SET);
	}
	osDelay(10);
	// dds setup
	// DDS_Init(INIT_PLL, INIT_DIV, INIT_REFCLK);
	DDS_Init(true, false, 50000000);

	// set amplitude
	GPIO_WritePin(DDS_D0_GPIO_PORT, DDS_D0_PIN, 1);
	GPIO_WritePin(DDS_D1_GPIO_PORT, DDS_D1_PIN, 1);
	GPIO_WritePin(DDS_D2_GPIO_PORT, DDS_D2_PIN, 1);
	GPIO_WritePin(DDS_D3_GPIO_PORT, DDS_D3_PIN, 1);
	GPIO_WritePin(DDS_D4_GPIO_PORT, DDS_D4_PIN, 1);
	GPIO_WritePin(DDS_D5_GPIO_PORT, DDS_D5_PIN, 1);
	GPIO_WritePin(DDS_D6_GPIO_PORT, DDS_D6_PIN, 1);
	GPIO_WritePin(DDS_D7_GPIO_PORT, DDS_D7_PIN, 1);
	GPIO_WritePin(DDS_D8_GPIO_PORT, DDS_D8_PIN, 1);
	GPIO_WritePin(DDS_D9_GPIO_PORT, DDS_D9_PIN, 1);
	GPIO_WritePin(DDS_D10_GPIO_PORT, DDS_D10_PIN, 1);
	GPIO_WritePin(DDS_D11_GPIO_PORT, DDS_D11_PIN, 1);
	GPIO_WritePin(DDS_D12_GPIO_PORT, DDS_D12_PIN, 1);
	GPIO_WritePin(DDS_D13_GPIO_PORT, DDS_D13_PIN, 1);
	GPIO_WritePin(DDS_D14_GPIO_PORT, DDS_D14_PIN, 1);
	GPIO_WritePin(DDS_D15_GPIO_PORT, DDS_D15_PIN, 1);

	// single-tone
	SingleProfileFreqOut(1000000L, INIT_A * -1, 0);
	echo_init();

  /* Infinite loop */
  for(;;)
  {
    osDelay(500);
	Serial_print("*");

//	GPIO_WritePin(DDS_DRCTL_GPIO_PORT, DDS_DRCTL_PIN, GPIO_PIN_SET);
//	osDelay(10);
//	GPIO_WritePin(DDS_DRCTL_GPIO_PORT, DDS_DRCTL_PIN, GPIO_PIN_RESET);

	//	HAL_UART_Transmit(&huart3, (uint8_t*)tx_buff, strlen(tx_buff), 1000);
		GPIO_WritePin(GPIOB, LD3_Pin, GPIO_PIN_SET);
		GPIO_WritePin(GPIOB, LD1_Pin, GPIO_PIN_RESET);
		GPIO_WritePin(GPIOB, LD2_Pin, GPIO_PIN_SET);
		osDelay(500);
		GPIO_WritePin(GPIOB, LD3_Pin, GPIO_PIN_RESET);
		GPIO_WritePin(GPIOB, LD1_Pin, GPIO_PIN_SET);
		GPIO_WritePin(GPIOB, LD2_Pin, GPIO_PIN_RESET);
  }
  /* USER CODE END 5 */
}

void HAL_TIM_PeriodElapsedCallback(TIM_HandleTypeDef *htim)
{
  if (htim->Instance == TIM6) {
    HAL_IncTick();
  }
}

void Error_Handler(void)
{
  __disable_irq();
  while (1)
  {
  }
}
